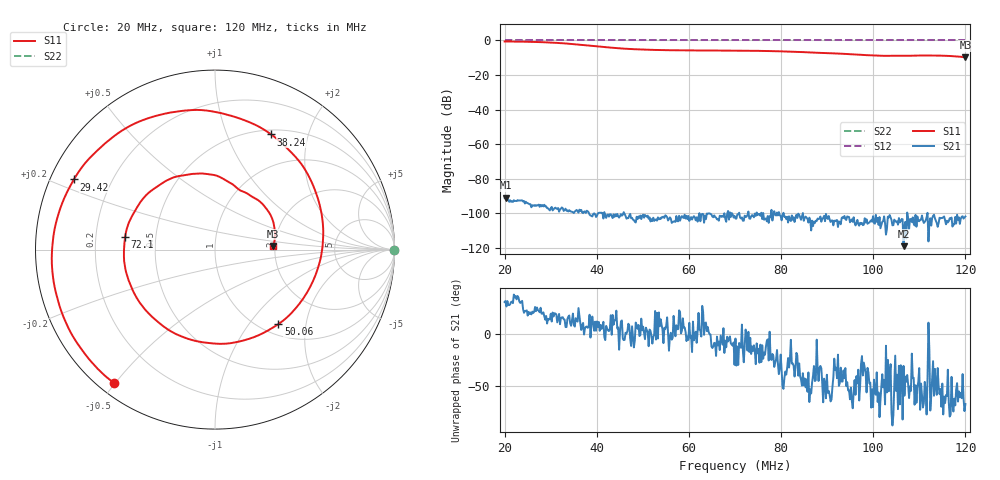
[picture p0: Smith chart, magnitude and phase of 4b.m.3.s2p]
! Anritsu VNA Master:  Model: MS2036C/10/77
! SN:  1601066
! /bd0/18may26.balun/4b.me4.s2p
! Existing Calibration Information:
! TYPE:  Current Settings,  Active Cal Settings
! TIME:  05/26/2018 05:24:02 PM,  05/26/2018 05:08:07 PM
! INTERNAL TEMP:  52.5 C,  52.5 C
! # POINTS:  500,  500
! START FREQ:  20.000 MHz,  20.000 MHz
! STOP FREQ:  120.000 MHz,  120.000 MHz
! SOURCE POWER:  High,  High
! IFBW:  50 Hz,  50 Hz
! AVG FACTOR:  1 ,  1
! REF PLANE 1:  0 mm,  0 mm
! REF PLANE 2:  0 mm,  0 mm
! CAL TYPE:  Full S11,  Full S11
! CAL METHOD:  SOLT,  SOLT
! CAL LINE TYPE:  Coax,  Coax
! DUT PORT 1:  K-Conn(M),  K-Conn(M)
! DUT PORT 2:  K-Conn(M),  K-Conn(M)
! CAL STATUS:  OK: Accuracy High,  --
# GHZ S DB R 50.0
! FREQ.GHZ  S11DB  S11A  S21DB  S21A  S12DB  S12A  S22DB  S22A
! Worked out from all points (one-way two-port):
!   500 points, 20 MHz to 120 MHz, reference 50 ohm
!   highest |S21| = -90.96 dB at 20.2 MHz (marker M1); lowest = -119.1 dB at 106.6 MHz (marker M2)
!   lowest |S11| = -9.8 dB at 120 MHz (marker M3), VSWR 1.96, Z = 97.9 + j4.45 ohm
!   |S11| at or under -10 dB: nowhere
!   |S22| runs from 0.0 to 0.0 dB; largest |S21 - S12| = 1
!   S11 on the Smith chart (normalised r, x): 20 MHz: 0.04, -0.50; 29.42 MHz: 0.07, +0.23; 38.24 MHz: 0.56, +1.45; 50.06 MHz: 1.19, -1.40; 72.1 MHz: 0.33, +0.06; 120 MHz: 1.96, +0.09
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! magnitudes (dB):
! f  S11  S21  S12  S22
! 20 MHz  -0.6  -91.2  0.0  0.0
! 20.2 MHz  -0.6  -91.0  0.0  0.0
! 25.61 MHz  -0.8  -94.8  0.0  0.0
! 29.42 MHz  -1.1  -97.2  0.0  0.0
! 32.63 MHz  -1.6  -97.1  0.0  0.0
! 36.83 MHz  -2.6  -99.6  0.0  0.0
! 38.24 MHz  -2.9  -99.5  0.0  0.0
! 44.45 MHz  -4.5  -100.4  0.0  0.0
! 50.06 MHz  -5.3  -100.8  0.0  0.0
! 53.47 MHz  -5.5  -103.6  0.0  0.0
! 70.1 MHz  -5.9  -103.0  0.0  0.0
! 72.1 MHz  -5.9  -101.4  0.0  0.0
! 79.12 MHz  -6.2  -99.6  0.0  0.0
! 86.73 MHz  -7.0  -104.3  0.0  0.0
! 93.15 MHz  -7.7  -102.8  0.0  0.0
! 101.2 MHz  -8.8  -106.8  0.0  0.0
! 103.4 MHz  -8.9  -102.5  0.0  0.0
! 106.6 MHz  -8.9  -119.1  0.0  0.0
! 111 MHz  -8.7  -105.6  0.0  0.0
! 114.8 MHz  -8.8  -102.8  0.0  0.0
! 117.8 MHz  -9.2  -102.2  0.0  0.0
! 120 MHz  -9.8  -101.9  0.0  0.0
